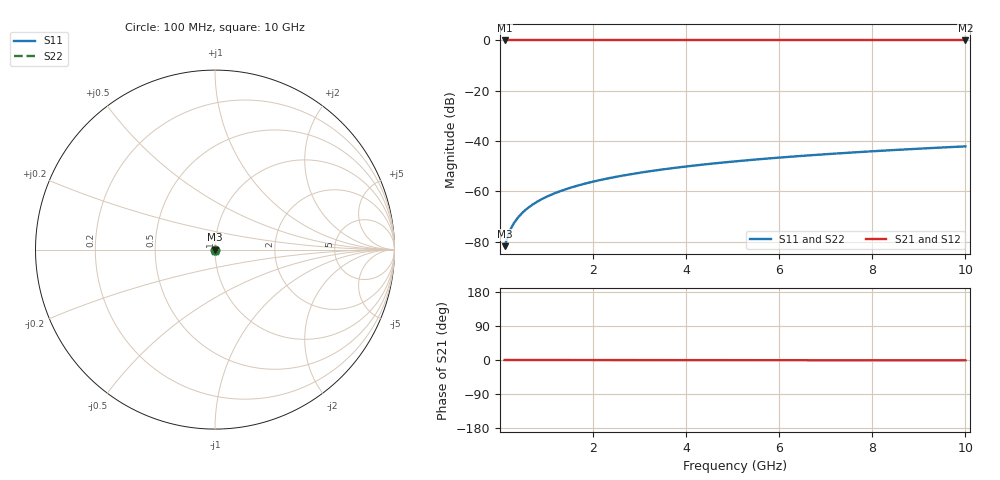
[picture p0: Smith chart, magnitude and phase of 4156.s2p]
# Hz S RI R 50.00
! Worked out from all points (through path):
!   100 points, 100 MHz to 10 GHz, reference 50 ohm
!   highest |S21| = 0.00 dB at 100 MHz (marker M1); lowest = 0.0 dB at 10 GHz (marker M2)
!   lowest |S11| = -81.8 dB at 100 MHz (marker M3), VSWR 1.00, Z = 50 - j0.0078 ohm
!   |S11| at or under -10 dB: start of sweep to end of sweep
!   |S22| runs from -81.8 to -42.1 dB; largest |S21 - S12| = 0
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1e8  2.38e-05 -7.8e-05  1 -0.00015  1 -0.00015  2.38e-05 -7.8e-05
2e8  2.38e-05 -0.000156  1 -0.0003  1 -0.0003  2.38e-05 -0.000156
3e8  2.37e-05 -0.000234  1 -0.000449  1 -0.000449  2.37e-05 -0.000234
4e8  2.37e-05 -0.000312  1 -0.000599  1 -0.000599  2.37e-05 -0.000312
5e8  2.35e-05 -0.00039  1 -0.000749  1 -0.000749  2.35e-05 -0.00039
6e8  2.34e-05 -0.000468  1 -0.000899  1 -0.000899  2.34e-05 -0.000468
7e8  2.32e-05 -0.000546  1 -0.00105  1 -0.00105  2.32e-05 -0.000546
8e8  2.3e-05 -0.000624  1 -0.0012  1 -0.0012  2.3e-05 -0.000624
9e8  2.27e-05 -0.000702  1 -0.00135  1 -0.00135  2.27e-05 -0.000702
1.1e9  2.21e-05 -0.000858  1 -0.00165  1 -0.00165  2.21e-05 -0.000858
1.4e9  2.11e-05 -0.00109  1 -0.0021  1 -0.0021  2.11e-05 -0.00109
1.8e9  1.93e-05 -0.00141  1 -0.0027  1 -0.0027  1.93e-05 -0.00141
2.1e9  1.78e-05 -0.00164  1 -0.00315  1 -0.00315  1.78e-05 -0.00164
2.5e9  1.53e-05 -0.00195  1 -0.00375  1 -0.00375  1.53e-05 -0.00195
2.9e9  1.25e-05 -0.00227  1 -0.00435  1 -0.00435  1.25e-05 -0.00227
3.4e9  8.43e-06 -0.00266  1 -0.0051  1 -0.0051  8.43e-06 -0.00266
4.2e9  6.96e-07 -0.00328  0.9999 -0.0063  0.9999 -0.0063  6.96e-07 -0.00328
5.1e9  -9.83e-06 -0.00399  0.9999 -0.00765  0.9999 -0.00765  -9.83e-06 -0.00399
5.9e9  -2.08e-05 -0.00462  0.9999 -0.00886  0.9999 -0.00886  -2.08e-05 -0.00462
6.7e9  -3.33e-05 -0.00525  0.9999 -0.0101  0.9999 -0.0101  -3.33e-05 -0.00525
8.4e9  -6.5e-05 -0.00659  0.9999 -0.0126  0.9999 -0.0126  -6.5e-05 -0.00659
1e10  -0.000101 -0.00785  0.9998 -0.0151  0.9998 -0.0151  -0.000101 -0.00785
